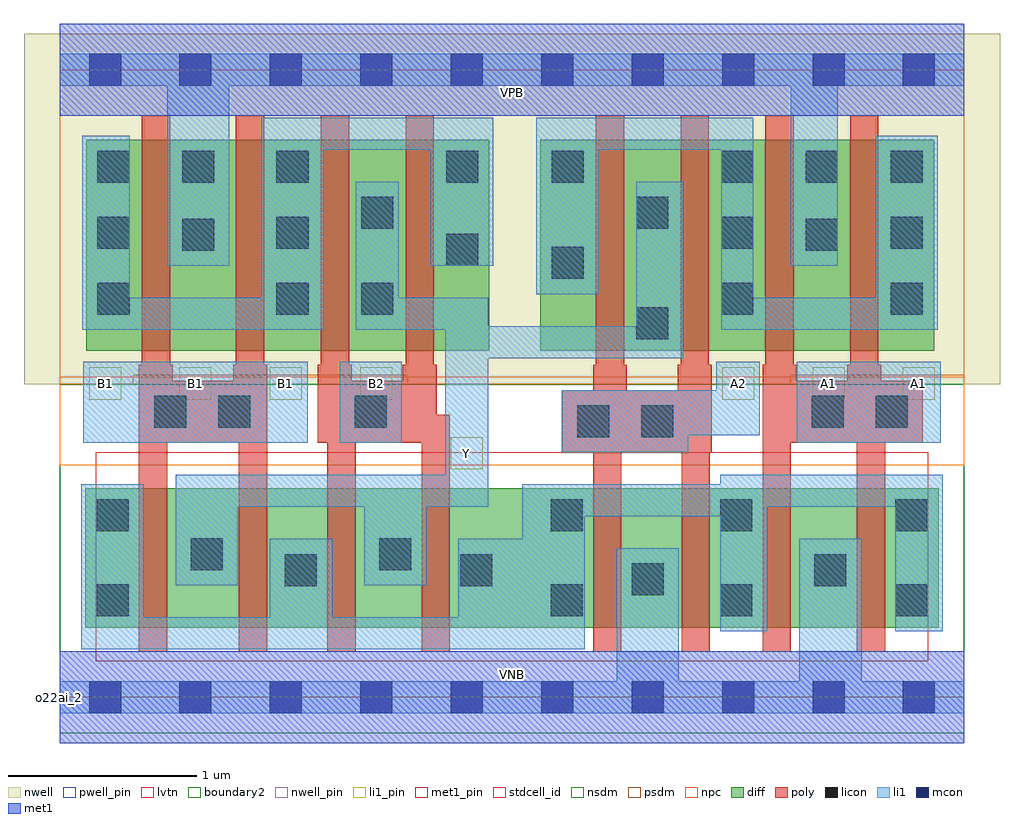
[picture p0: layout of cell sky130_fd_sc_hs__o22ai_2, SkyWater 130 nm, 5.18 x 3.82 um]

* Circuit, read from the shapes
.subckt sky130_fd_sc_hs__o22ai_2 A1 A2 B1 B2 VGND VNB VPB VPWR Y
XM1 Y B1 n1 VNB sky130_fd_pr__nfet_01v8_lvt w=0.74 l=0.15 m=2
XM2 Y B2 n1 VNB sky130_fd_pr__nfet_01v8_lvt w=0.74 l=0.15 m=2
XM3 VGND A2 n1 VNB sky130_fd_pr__nfet_01v8_lvt w=0.74 l=0.15 m=2
XM4 VGND A1 n1 VNB sky130_fd_pr__nfet_01v8_lvt w=0.74 l=0.15 m=2
XM5 VPWR B1 n2 VPB sky130_fd_pr__pfet_01v8 w=1.12 l=0.15 m=2
XM6 Y B2 n2 VPB sky130_fd_pr__pfet_01v8 w=1.12 l=0.15 m=2
XM7 Y A2 n3 VPB sky130_fd_pr__pfet_01v8 w=1.12 l=0.15 m=2
XM8 VPWR A1 n3 VPB sky130_fd_pr__pfet_01v8 w=1.12 l=0.15 m=2
.ends

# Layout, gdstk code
import gdstk
lib = gdstk.Library(unit=1e-6, precision=1e-09)
def R(c, l, rs):  # rectangles x0, y0, x1, y1
    for r in rs: c.add(gdstk.rectangle(r[:2], r[2:], *l))
def A(c, l, x, y, w, h, nx, ny, dx, dy):  # array of equal rectangles
    R(c, l, [(x+i*dx, y+j*dy, x+i*dx+w, y+j*dy+h) for i in range(nx) for j in range(ny)])
def P(c, l, *ps):  # polygons
    for p in ps: c.add(gdstk.Polygon(p, *l))
nwell_pin = (64, 16)
nwell = (64, 20)
diff = (65, 20)
poly = (66, 20)
licon = (66, 44)
li1_pin = (67, 16)
li1 = (67, 20)
mcon = (67, 44)
met1_pin = (68, 16)
met1 = (68, 20)
stdcell_id = (81, 4)
nsdm = (93, 44)
psdm = (94, 20)
npc = (95, 20)
pwell_pin = (122, 16)
lvtn = (125, 44)
boundary2 = (236, 0)

sky130_fd_sc_hs__o22ai_2 = lib.new_cell('sky130_fd_sc_hs__o22ai_2')
R(sky130_fd_sc_hs__o22ai_2, nwell_pin, [(0,3.085,4.8,3.33)])
R(sky130_fd_sc_hs__o22ai_2, nwell, [(-0.19,1.66,4.99,3.52)])
R(sky130_fd_sc_hs__o22ai_2, diff, [(0.135,0.37,4.665,1.11), (0.14,1.84,2.28,2.96), (2.55,1.84,4.64,2.96)])
P(sky130_fd_sc_hs__o22ai_2, poly, [(4.58,1.68),(4.36,1.68),(4.36,1.765),(4.345,1.765),(4.345,3.09),(4.195,3.09),(4.195,1.765),(4.18,1.765),(4.18,1.68),(3.91,1.68),(3.91,1.765),(3.895,1.765),(3.895,3.09),(3.745,3.09),(3.745,1.765),(3.73,1.765),(3.73,0.24),(3.88,0.24),(3.88,1.35),(4.23,1.35),(4.23,0.24),(4.38,0.24),(4.38,1.35),(4.58,1.35)],
  [(3.46,1.765),(3.445,1.765),(3.445,3.09),(3.295,3.09),(3.295,1.765),(3.28,1.765),(3.28,1.63),(3.01,1.63),(3.01,1.765),(2.995,1.765),(2.995,3.09),(2.845,3.09),(2.845,1.765),(2.83,1.765),(2.83,1.63),(2.665,1.63),(2.665,1.3),(2.83,1.3),(2.83,0.24),(2.98,0.24),(2.98,1.3),(3.3,1.3),(3.3,0.24),(3.45,0.24),(3.45,1.3),(3.46,1.3)],
  [(2.07,1.5),(2,1.5),(2,1.765),(1.985,1.765),(1.985,3.09),(1.835,3.09),(1.835,1.765),(1.82,1.765),(1.82,1.68),(1.55,1.68),(1.55,1.765),(1.535,1.765),(1.535,3.09),(1.385,3.09),(1.385,1.765),(1.37,1.765),(1.37,1.35),(1.42,1.35),(1.42,0.24),(1.57,0.24),(1.57,1.35),(1.92,1.35),(1.92,0.24),(2.07,0.24)],
  [(1.1,1.765),(1.085,1.765),(1.085,3.09),(0.935,3.09),(0.935,1.765),(0.92,1.765),(0.92,1.68),(0.6,1.68),(0.6,1.765),(0.585,1.765),(0.585,3.09),(0.435,3.09),(0.435,1.765),(0.42,1.765),(0.42,0.24),(0.57,0.24),(0.57,1.35),(0.95,1.35),(0.95,0.24),(1.1,0.24)])
A(sky130_fd_sc_hs__o22ai_2, licon, 0.2, 2.03, 0.17, 0.17, 1, 3, 0, 0.35)
A(sky130_fd_sc_hs__o22ai_2, licon, 1.15, 2.03, 0.17, 0.17, 1, 3, 0, 0.35)
A(sky130_fd_sc_hs__o22ai_2, licon, 3.51, 2.73, 0.17, 0.17, 3, 1, 0.45, 0)
R(sky130_fd_sc_hs__o22ai_2, licon, [(0.195,0.43,0.365,0.6), (2.605,0.43,2.775,0.6), (3.505,0.43,3.675,0.6), (4.435,0.43,4.605,0.6), (3.035,0.54,3.205,0.71), (1.195,0.59,1.365,0.76), (2.125,0.59,2.295,0.76), (4.005,0.59,4.175,0.76), (0.695,0.675,0.865,0.845), (1.695,0.675,1.865,0.845), (0.195,0.88,0.365,1.05), (2.605,0.88,2.775,1.05), (3.505,0.88,3.675,1.05), (4.435,0.88,4.605,1.05), (2.745,1.38,2.915,1.55), (3.085,1.38,3.255,1.55), (0.5,1.43,0.67,1.6), (0.84,1.43,1.01,1.6), (1.565,1.43,1.735,1.6), (3.99,1.43,4.16,1.6), (4.33,1.43,4.5,1.6), (3.06,1.9,3.23,2.07), (1.6,2.03,1.77,2.2), (3.51,2.03,3.68,2.2), (4.41,2.03,4.58,2.2), (2.61,2.22,2.78,2.39), (2.05,2.29,2.22,2.46), (0.65,2.37,0.82,2.54), (3.96,2.37,4.13,2.54), (3.51,2.38,3.68,2.55), (4.41,2.38,4.58,2.55), (1.6,2.485,1.77,2.655), (3.06,2.485,3.23,2.655), (0.65,2.73,0.82,2.9), (2.05,2.73,2.22,2.9), (2.61,2.73,2.78,2.9)])
A(sky130_fd_sc_hs__o22ai_2, li1_pin, 0.155, 1.58, 0.17, 0.17, 4, 1, 0.48, 0)
A(sky130_fd_sc_hs__o22ai_2, li1_pin, 3.515, 1.58, 0.17, 0.17, 3, 1, 0.48, 0)
R(sky130_fd_sc_hs__o22ai_2, li1_pin, [(2.075,1.21,2.245,1.38)])
R(sky130_fd_sc_hs__o22ai_2, li1, [(0.125,1.35,1.315,1.78), (1.485,1.35,1.815,1.78), (3.91,1.35,4.675,1.78)])
P(sky130_fd_sc_hs__o22ai_2, li1, [(0,-0.085),(0,0.085),(2.955,0.085),(2.955,0.79),(3.285,0.79),(3.285,0.085),(3.925,0.085),(3.925,0.84),(4.255,0.84),(4.255,0.085),(4.8,0.085),(4.8,-0.085)],
  [(0,3.245),(0,3.415),(4.8,3.415),(4.8,3.245),(4.13,3.245),(4.13,2.29),(3.88,2.29),(3.88,3.245),(0.9,3.245),(0.9,2.29),(0.57,2.29),(0.57,3.245)],
  [(3.335,1.39),(3.335,1.3),(2.665,1.3),(2.665,1.63),(3.485,1.63),(3.485,1.78),(3.715,1.78),(3.715,1.39)],
  [(3.31,2.735),(3.06,2.735),(3.06,1.97),(2.275,1.97),(2.275,2.12),(1.8,2.12),(1.8,2.735),(1.57,2.735),(1.57,1.95),(2.045,1.95),(2.045,1.18),(0.615,1.18),(0.615,0.595),(0.945,0.595),(0.945,1.01),(1.615,1.01),(1.615,0.595),(1.945,0.595),(1.945,1.01),(2.275,1.01),(2.275,1.8),(3.31,1.8)],
  [(0.115,0.255),(0.115,1.13),(0.445,1.13),(0.445,0.425),(1.115,0.425),(1.115,0.84),(1.445,0.84),(1.445,0.425),(2.115,0.425),(2.115,0.84),(2.455,0.84),(2.455,1.13),(3.505,1.13),(3.505,1.18),(4.685,1.18),(4.685,0.35),(4.435,0.35),(4.435,1.01),(3.755,1.01),(3.755,0.35),(3.505,0.35),(3.505,0.96),(2.785,0.96),(2.785,0.255)],
  [(2.3,3.075),(1.07,3.075),(1.07,2.12),(0.37,2.12),(0.37,2.98),(0.12,2.98),(0.12,1.95),(1.4,1.95),(1.4,2.905),(1.97,2.905),(1.97,2.29),(2.3,2.29)],
  [(2.53,2.14),(2.53,3.075),(3.68,3.075),(3.68,2.12),(4.33,2.12),(4.33,2.98),(4.66,2.98),(4.66,1.95),(3.51,1.95),(3.51,2.905),(2.86,2.905),(2.86,2.14)])
A(sky130_fd_sc_hs__o22ai_2, mcon, 0.155, -0.085, 0.17, 0.17, 10, 2, 0.48, 3.33)
R(sky130_fd_sc_hs__o22ai_2, met1_pin, [(0,0,4.8,0.245), (0,3.085,4.8,3.33)])
R(sky130_fd_sc_hs__o22ai_2, met1, [(0,-0.245,4.8,0.245), (0,3.085,4.8,3.575)])
R(sky130_fd_sc_hs__o22ai_2, stdcell_id, [(0,0,4.8,3.33)])
R(sky130_fd_sc_hs__o22ai_2, nsdm, [(0,-0.19,4.8,1.66)])
P(sky130_fd_sc_hs__o22ai_2, psdm, [(4.8,3.52),(0,3.52),(0,1.66),(0.39,1.66),(0.39,1.71),(1.845,1.71),(1.845,1.66),(3.88,1.66),(3.88,1.71),(4.8,1.71)])
R(sky130_fd_sc_hs__o22ai_2, npc, [(0,1.23,4.8,1.7)])
R(sky130_fd_sc_hs__o22ai_2, pwell_pin, [(0,0,4.8,0.245)])
R(sky130_fd_sc_hs__o22ai_2, lvtn, [(0.19,0.19,4.61,1.3)])
R(sky130_fd_sc_hs__o22ai_2, boundary2, [(0,0,4.8,3.33)])
sky130_fd_sc_hs__o22ai_2.add(gdstk.Label('o22ai_2', (0,0), layer=83, texttype=44))
sky130_fd_sc_hs__o22ai_2.add(gdstk.Label('VNB', (2.4,0.123), layer=64, texttype=59))
sky130_fd_sc_hs__o22ai_2.add(gdstk.Label('VPB', (2.4,3.208), layer=64, texttype=5))
sky130_fd_sc_hs__o22ai_2.add(gdstk.Label('VPWR', (2.4,3.208), layer=68, texttype=5))
sky130_fd_sc_hs__o22ai_2.add(gdstk.Label('VGND', (2.4,0.123), layer=68, texttype=5))
sky130_fd_sc_hs__o22ai_2.add(gdstk.Label('B2', (1.68,1.665), layer=67, texttype=5))
sky130_fd_sc_hs__o22ai_2.add(gdstk.Label('B1', (0.24,1.665), layer=67, texttype=5))
sky130_fd_sc_hs__o22ai_2.add(gdstk.Label('B1', (0.72,1.665), layer=67, texttype=5))
sky130_fd_sc_hs__o22ai_2.add(gdstk.Label('B1', (1.2,1.665), layer=67, texttype=5))
sky130_fd_sc_hs__o22ai_2.add(gdstk.Label('A2', (3.6,1.665), layer=67, texttype=5))
sky130_fd_sc_hs__o22ai_2.add(gdstk.Label('A1', (4.08,1.665), layer=67, texttype=5))
sky130_fd_sc_hs__o22ai_2.add(gdstk.Label('A1', (4.56,1.665), layer=67, texttype=5))
sky130_fd_sc_hs__o22ai_2.add(gdstk.Label('Y', (2.16,1.295), layer=67, texttype=5))

lib.write_gds('sky130_fd_sc_hs__o22ai_2.gds')
